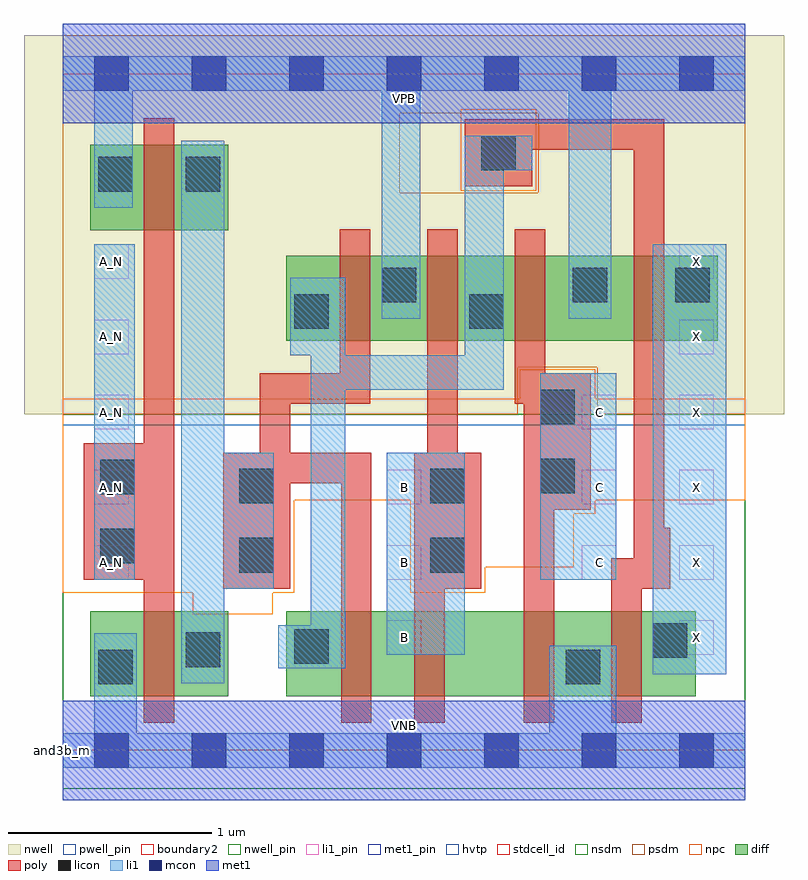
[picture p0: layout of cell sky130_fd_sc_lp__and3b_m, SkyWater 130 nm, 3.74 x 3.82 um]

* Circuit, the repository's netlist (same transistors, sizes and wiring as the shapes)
* Copyright 2020 The SkyWater PDK Authors
*
* Licensed under the Apache License, Version 2.0 (the "License");
* you may not use this file except in compliance with the License.
* You may obtain a copy of the License at
*
*     https://www.apache.org/licenses/LICENSE-2.0
*
* Unless required by applicable law or agreed to in writing, software
* distributed under the License is distributed on an "AS IS" BASIS,
* WITHOUT WARRANTIES OR CONDITIONS OF ANY KIND, either express or implied.
* See the License for the specific language governing permissions and
* limitations under the License.
*
* SPDX-License-Identifier: Apache-2.0

.SUBCKT sky130_fd_sc_lp__and3b_m A_N B C VGND VNB VPB VPWR X
*.PININFO A_N:I B:I C:I VGND:I VNB:I VPB:I VPWR:I X:O
MMP0 y A VPWR VPB sky130_fd_pr__pfet_01v8_hvt m=1 w=0.42U l=0.15U mult=1 sa=0.265
+ sb=0.265 sd=0.28 area=0.063 perim=1.14
MMP1 y B VPWR VPB sky130_fd_pr__pfet_01v8_hvt m=1 w=0.42U l=0.15U mult=1 sa=0.265
+ sb=0.265 sd=0.28 area=0.063 perim=1.14
MMP2 y C VPWR VPB sky130_fd_pr__pfet_01v8_hvt m=1 w=0.42U l=0.15U mult=1 sa=0.265
+ sb=0.265 sd=0.28 area=0.063 perim=1.14
MMIP0 A A_N VPWR VPB sky130_fd_pr__pfet_01v8_hvt m=1 w=0.42U l=0.15U mult=1 sa=0.265
+ sb=0.265 sd=0.28 area=0.063 perim=1.14
MMIP1 X y VPWR VPB sky130_fd_pr__pfet_01v8_hvt m=1 w=0.42U l=0.15U mult=1 sa=0.265
+ sb=0.265 sd=0.28 area=0.063 perim=1.14
MMN0 y A sndA VNB sky130_fd_pr__nfet_01v8 m=1 w=0.42U l=0.15U mult=1 sa=0.265 sb=0.265
+ sd=0.28 area=0.063 perim=1.14
MMN1 sndA B sndB VNB sky130_fd_pr__nfet_01v8 m=1 w=0.42U l=0.15U mult=1 sa=0.265
+ sb=0.265 sd=0.28 area=0.063 perim=1.14
MMN2 sndB C VGND VNB sky130_fd_pr__nfet_01v8 m=1 w=0.42U l=0.15U mult=1 sa=0.265
+ sb=0.265 sd=0.28 area=0.063 perim=1.14
MMIN0 A A_N VGND VNB sky130_fd_pr__nfet_01v8 m=1 w=0.42U l=0.15U mult=1 sa=0.265
+ sb=0.265 sd=0.28 area=0.063 perim=1.14
MMIN1 X y VGND VNB sky130_fd_pr__nfet_01v8 m=1 w=0.42U l=0.15U mult=1 sa=0.265
+ sb=0.265 sd=0.28 area=0.063 perim=1.14
.ENDS sky130_fd_sc_lp__and3b_m

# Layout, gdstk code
import gdstk
lib = gdstk.Library(unit=1e-6, precision=1e-09)
def R(c, l, rs):  # rectangles x0, y0, x1, y1
    for r in rs: c.add(gdstk.rectangle(r[:2], r[2:], *l))
def A(c, l, x, y, w, h, nx, ny, dx, dy):  # array of equal rectangles
    R(c, l, [(x+i*dx, y+j*dy, x+i*dx+w, y+j*dy+h) for i in range(nx) for j in range(ny)])
def P(c, l, *ps):  # polygons
    for p in ps: c.add(gdstk.Polygon(p, *l))
nwell_pin = (64, 16)
nwell = (64, 20)
diff = (65, 20)
poly = (66, 20)
licon = (66, 44)
li1_pin = (67, 16)
li1 = (67, 20)
mcon = (67, 44)
met1_pin = (68, 16)
met1 = (68, 20)
hvtp = (78, 44)
stdcell_id = (81, 4)
nsdm = (93, 44)
psdm = (94, 20)
npc = (95, 20)
pwell_pin = (122, 16)
boundary2 = (236, 0)

sky130_fd_sc_lp__and3b_m = lib.new_cell('sky130_fd_sc_lp__and3b_m')
R(sky130_fd_sc_lp__and3b_m, nwell_pin, [(0,3.085,3.36,3.33)])
R(sky130_fd_sc_lp__and3b_m, nwell, [(-0.19,1.655,3.55,3.52)])
R(sky130_fd_sc_lp__and3b_m, diff, [(0.135,0.265,0.815,0.685), (1.1,0.265,3.115,0.685), (1.1,2.015,3.225,2.435), (0.135,2.56,0.815,2.98)])
P(sky130_fd_sc_lp__and3b_m, poly, [(0.55,3.11),(0.4,3.11),(0.4,1.51),(0.105,1.51),(0.105,0.84),(0.4,0.84),(0.4,0.135),(0.55,0.135)],
  [(1.52,1.465),(1.12,1.465),(1.12,1.705),(1.515,1.705),(1.515,2.565),(1.365,2.565),(1.365,1.855),(0.97,1.855),(0.97,1.465),(0.79,1.465),(0.79,0.795),(1.12,0.795),(1.12,1.315),(1.37,1.315),(1.37,0.135),(1.52,0.135)],
  [(2.06,1.465),(1.945,1.465),(1.945,2.565),(1.795,2.565),(1.795,1.465),(1.73,1.465),(1.73,0.135),(1.88,0.135),(1.88,0.795),(2.06,0.795)],
  [(2.6,1.855),(2.375,1.855),(2.375,2.565),(2.225,2.565),(2.225,1.705),(2.27,1.705),(2.27,0.135),(2.42,0.135),(2.42,1.185),(2.6,1.185)],
  [(2.99,1.095),(2.96,1.095),(2.96,3.105),(1.98,3.105),(1.98,2.775),(2.31,2.775),(2.31,2.955),(2.81,2.955),(2.81,0.945),(2.7,0.945),(2.7,0.135),(2.85,0.135),(2.85,0.795),(2.99,0.795)])
R(sky130_fd_sc_lp__and3b_m, licon, [(0.175,0.325,0.345,0.495), (2.475,0.325,2.645,0.495), (0.605,0.41,0.775,0.58), (1.14,0.425,1.31,0.595), (2.905,0.455,3.075,0.625), (0.87,0.875,1.04,1.045), (1.81,0.875,1.98,1.045), (0.185,0.92,0.355,1.09), (0.87,1.215,1.04,1.385), (1.81,1.215,1.98,1.385), (0.185,1.26,0.355,1.43), (2.35,1.265,2.52,1.435), (2.35,1.605,2.52,1.775), (1.14,2.075,1.31,2.245), (2,2.075,2.17,2.245), (1.57,2.205,1.74,2.375), (2.51,2.205,2.68,2.375), (3.015,2.205,3.185,2.375), (0.175,2.75,0.345,2.92), (0.605,2.75,0.775,2.92), (2.06,2.855,2.23,3.025)])
A(sky130_fd_sc_lp__and3b_m, li1_pin, 1.595, 0.47, 0.17, 0.17, 1, 3, 0, 0.37)
A(sky130_fd_sc_lp__and3b_m, li1_pin, 3.035, 0.47, 0.17, 0.17, 1, 6, 0, 0.37)
A(sky130_fd_sc_lp__and3b_m, li1_pin, 0.155, 0.84, 0.17, 0.17, 1, 5, 0, 0.37)
A(sky130_fd_sc_lp__and3b_m, li1_pin, 2.555, 0.84, 0.17, 0.17, 1, 3, 0, 0.37)
R(sky130_fd_sc_lp__and3b_m, li1, [(2.905,0.375,3.265,2.49), (1.595,0.47,1.98,1.465), (0.155,0.84,0.355,2.49), (2.35,0.84,2.725,1.855)])
P(sky130_fd_sc_lp__and3b_m, li1, [(1.57,2.125),(1.57,3.245),(0.345,3.245),(0.345,2.67),(0.155,2.67),(0.155,3.245),(0,3.245),(0,3.415),(3.36,3.415),(3.36,3.245),(2.7,3.245),(2.7,2.125),(2.49,2.125),(2.49,3.245),(1.76,3.245),(1.76,2.125)],
  [(0.155,0.085),(0.155,0.575),(0.365,0.575),(0.365,0.085),(2.395,0.085),(2.395,0.515),(2.725,0.515),(2.725,0.085),(3.36,0.085),(3.36,-0.085),(0,-0.085),(0,0.085)],
  [(0.795,1.465),(1.04,1.465),(1.04,0.795),(0.795,0.795),(0.795,0.33),(0.585,0.33),(0.585,3),(0.795,3)],
  [(1.39,1.945),(1.98,1.945),(1.98,3.025),(2.31,3.025),(2.31,2.855),(2.17,2.855),(2.17,1.775),(1.39,1.775),(1.39,0.405),(1.06,0.405),(1.06,0.615),(1.22,0.615),(1.22,1.945),(1.12,1.945),(1.12,2.325),(1.39,2.325)])
A(sky130_fd_sc_lp__and3b_m, mcon, 0.155, -0.085, 0.17, 0.17, 7, 2, 0.48, 3.33)
R(sky130_fd_sc_lp__and3b_m, met1_pin, [(0,0,3.36,0.245), (0,3.085,3.36,3.33)])
R(sky130_fd_sc_lp__and3b_m, met1, [(0,-0.245,3.36,0.245), (0,3.085,3.36,3.575)])
R(sky130_fd_sc_lp__and3b_m, hvtp, [(0,1.6,3.36,3.33)])
R(sky130_fd_sc_lp__and3b_m, stdcell_id, [(0,0,3.36,3.33)])
R(sky130_fd_sc_lp__and3b_m, nsdm, [(0,-0.19,3.36,1.655)])
P(sky130_fd_sc_lp__and3b_m, psdm, [(3.36,3.52),(2.34,3.52),(2.34,2.745),(1.66,2.745),(1.66,3.135),(2.34,3.135),(2.34,3.52),(0,3.52),(0,1.655),(2.24,1.655),(2.24,1.885),(2.63,1.885),(2.63,1.655),(3.36,1.655)])
R(sky130_fd_sc_lp__and3b_m, npc, [(1.96,2.755,2.33,3.155)])
P(sky130_fd_sc_lp__and3b_m, npc, [(3.36,1.73),(2.62,1.73),(2.62,1.875),(2.25,1.875),(2.25,1.73),(0,1.73),(0,0.775),(0.64,0.775),(0.64,0.67),(1.035,0.67),(1.035,0.775),(1.14,0.775),(1.14,1.23),(1.71,1.23),(1.71,0.775),(2.08,0.775),(2.08,0.9),(2.515,0.9),(2.515,1.165),(2.62,1.165),(2.62,1.23),(3.36,1.23)])
R(sky130_fd_sc_lp__and3b_m, pwell_pin, [(0,0,3.36,0.245)])
R(sky130_fd_sc_lp__and3b_m, boundary2, [(0,0,3.36,3.33)])
sky130_fd_sc_lp__and3b_m.add(gdstk.Label('VNB', (1.68,0.123), layer=64, texttype=59))
sky130_fd_sc_lp__and3b_m.add(gdstk.Label('VPB', (1.68,3.208), layer=64, texttype=5))
sky130_fd_sc_lp__and3b_m.add(gdstk.Label('and3b_m', (0,0), layer=83, texttype=44))
sky130_fd_sc_lp__and3b_m.add(gdstk.Label('VPWR', (1.68,3.208), layer=68, texttype=5))
sky130_fd_sc_lp__and3b_m.add(gdstk.Label('VGND', (1.68,0.123), layer=68, texttype=5))
sky130_fd_sc_lp__and3b_m.add(gdstk.Label('B', (1.68,0.555), layer=67, texttype=5))
sky130_fd_sc_lp__and3b_m.add(gdstk.Label('B', (1.68,0.925), layer=67, texttype=5))
sky130_fd_sc_lp__and3b_m.add(gdstk.Label('B', (1.68,1.295), layer=67, texttype=5))
sky130_fd_sc_lp__and3b_m.add(gdstk.Label('C', (2.64,0.925), layer=67, texttype=5))
sky130_fd_sc_lp__and3b_m.add(gdstk.Label('C', (2.64,1.295), layer=67, texttype=5))
sky130_fd_sc_lp__and3b_m.add(gdstk.Label('C', (2.64,1.665), layer=67, texttype=5))
sky130_fd_sc_lp__and3b_m.add(gdstk.Label('A_N', (0.24,0.925), layer=67, texttype=5))
sky130_fd_sc_lp__and3b_m.add(gdstk.Label('A_N', (0.24,1.295), layer=67, texttype=5))
sky130_fd_sc_lp__and3b_m.add(gdstk.Label('A_N', (0.24,1.665), layer=67, texttype=5))
sky130_fd_sc_lp__and3b_m.add(gdstk.Label('A_N', (0.24,2.035), layer=67, texttype=5))
sky130_fd_sc_lp__and3b_m.add(gdstk.Label('A_N', (0.24,2.405), layer=67, texttype=5))
sky130_fd_sc_lp__and3b_m.add(gdstk.Label('X', (3.12,0.555), layer=67, texttype=5))
sky130_fd_sc_lp__and3b_m.add(gdstk.Label('X', (3.12,0.925), layer=67, texttype=5))
sky130_fd_sc_lp__and3b_m.add(gdstk.Label('X', (3.12,1.295), layer=67, texttype=5))
sky130_fd_sc_lp__and3b_m.add(gdstk.Label('X', (3.12,1.665), layer=67, texttype=5))
sky130_fd_sc_lp__and3b_m.add(gdstk.Label('X', (3.12,2.035), layer=67, texttype=5))
sky130_fd_sc_lp__and3b_m.add(gdstk.Label('X', (3.12,2.405), layer=67, texttype=5))

lib.write_gds('sky130_fd_sc_lp__and3b_m.gds')
